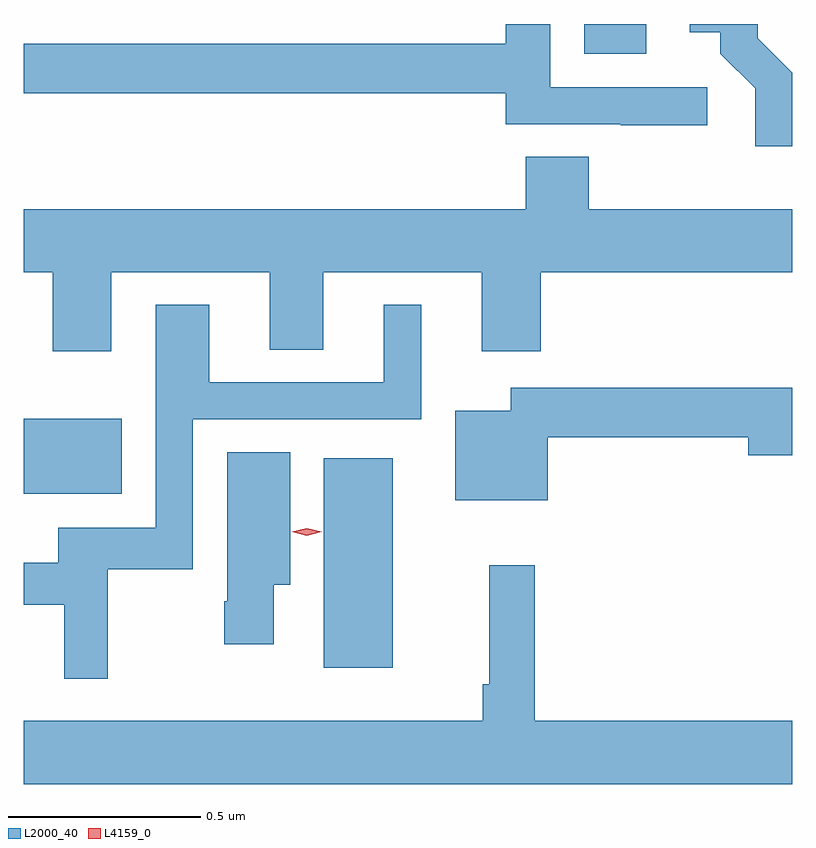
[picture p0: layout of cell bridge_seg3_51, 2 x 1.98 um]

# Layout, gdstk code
import gdstk
lib = gdstk.Library(unit=1e-6, precision=1e-09)
def R(c, l, rs):  # rectangles x0, y0, x1, y1
    for r in rs: c.add(gdstk.rectangle(r[:2], r[2:], *l))
def P(c, l, *ps):  # polygons
    for p in ps: c.add(gdstk.Polygon(p, *l))
L2000_40 = (2000, 40)
L4159_0 = (4159, 0)

bridge_seg3_51 = lib.new_cell('bridge_seg3_51')
R(bridge_seg3_51, L2000_40, [(1065.338,703.883,1065.517,704.428), (1064.557,704.336,1064.812,704.53), (1066.016,705.48,1066.177,705.558)])
P(bridge_seg3_51, L2000_40, [(1066.557,705.431),(1066.467,705.521),(1066.467,705.558),(1066.29,705.558),(1066.29,705.536),(1066.37,705.536),(1066.37,705.481),(1066.461,705.391),(1066.461,705.24),(1066.557,705.24)],
  [(1066.336,705.393),(1065.927,705.393),(1065.927,705.558),(1065.811,705.558),(1065.811,705.506),(1064.557,705.506),(1064.557,705.378),(1065.811,705.378),(1065.811,705.297),(1066.111,705.297),(1066.111,705.295),(1066.336,705.295)],
  [(1064.785,704.912),(1065.197,704.912),(1065.197,704.71),(1065.337,704.71),(1065.337,704.912),(1065.749,704.912),(1065.749,704.706),(1065.902,704.706),(1065.902,704.912),(1066.557,704.912),(1066.557,705.076),(1066.028,705.076),(1066.028,705.212),(1065.863,705.212),(1065.863,705.076),(1064.557,705.076),(1064.557,704.912),(1064.633,704.912),(1064.633,704.706),(1064.785,704.706)],
  [(1064.776,704.139),(1064.997,704.139),(1064.997,704.529),(1065.592,704.529),(1065.592,704.827),(1065.494,704.827),(1065.494,704.625),(1065.04,704.625),(1065.04,704.827),(1064.901,704.827),(1064.901,704.247),(1064.647,704.247),(1064.647,704.156),(1064.557,704.156),(1064.557,704.046),(1064.662,704.046),(1064.662,703.854),(1064.776,703.854)],
  [(1065.921,704.482),(1066.442,704.482),(1066.442,704.435),(1066.557,704.435),(1066.557,704.611),(1065.825,704.611),(1065.825,704.551),(1065.68,704.551),(1065.68,704.318),(1065.921,704.318)],
  [(1065.208,704.099),(1065.25,704.099),(1065.25,704.444),(1065.086,704.444),(1065.086,704.056),(1065.079,704.056),(1065.079,703.944),(1065.208,703.944)],
  [(1066.557,703.744),(1065.887,703.744),(1065.887,704.149),(1065.769,704.149),(1065.769,703.84),(1065.751,703.84),(1065.751,703.744),(1064.557,703.744),(1064.557,703.58),(1066.557,703.58)])
P(bridge_seg3_51, L4159_0, [(1065.294,704.226),(1065.254,704.236),(1065.254,704.236),(1065.254,704.236),(1065.294,704.246),(1065.333,704.236),(1065.333,704.236),(1065.333,704.236)])

lib.write_gds('bridge_seg3_51.gds')
